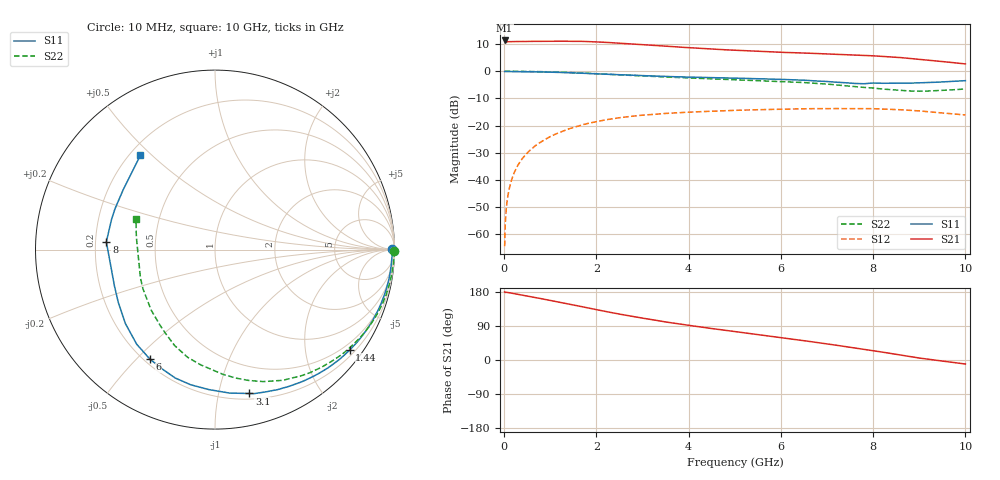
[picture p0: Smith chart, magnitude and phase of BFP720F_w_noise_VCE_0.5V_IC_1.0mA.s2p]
! Infineon Technologies  Discrete & RF Semiconductors
! BFP720F
! VCE =  0.5 V,  IC =  1.0 mA
! Common Emitter S-Parameters:  Jan 2016
# GHz  S  MA  R  50
!  f  S11  S21  S12  S22
! GHz  MAG  ANG  MAG  ANG  MAG  ANG  MAG  ANG
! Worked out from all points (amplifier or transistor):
!   233 points, 10 MHz to 10 GHz, reference 50 ohm
!   highest |S21| = 11.3 dB at 10 MHz (marker M1)
!   |S21| within 3 dB of that: start of sweep to 4.323 GHz
!   unconditionally stable (mu >= 1): nowhere
!   at 200 MHz: K = 0.00, MSG = 24.5 dB, |S12| = -38.1 dB
!   at 1.74 GHz: K = 0.14, MSG = 15.3 dB, |S12| = -19.5 dB
!   at 10 GHz: K = 0.80, MSG = 9.4 dB, |S12| = -16.1 dB
!   lowest NFmin = 0.46 dB at 450 MHz
!   S11 on the Smith chart (normalised r, x): 10 MHz: open; 1.44 GHz: 0.33, -2.98; 3.1 GHz: 0.25, -1.24; 6 GHz: 0.22, -0.55; 8 GHz: 0.24, +0.03; 10 GHz: 0.24, +0.46
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0.01  0.9868 0.1  3.687 179.8  0.0006 -8.5  0.9989 -0.5
0.015  0.9874 -0.2  3.585 179.1  0.0007 67.1  0.9994 -0.8
0.02  0.9881 -0.4  3.484 178.3  0.0013 93.7  1 -1.1
0.04  0.988 -1.0  3.489 178.6  0.0026 90.5  0.9987 -1.2
0.08  0.9874 -2.0  3.496 178.1  0.005 89.0  0.9986 -1.7
0.18  0.9862 -4.4  3.512 175.9  0.0112 86.8  0.9977 -3.8
0.3  0.9847 -7.3  3.52 173.3  0.0187 84.5  0.9943 -6.3
0.9  0.9662 -22.5  3.579 159.6  0.0561 72.2  0.978 -19.1
1.44  0.9362 -36.7  3.552 146.6  0.0887 60.3  0.9453 -31.2
1.68  0.9193 -43.2  3.549 140.6  0.1021 55.0  0.9269 -36.6
2.4  0.8672 -61.3  3.325 123.4  0.1357 39.4  0.8678 -52.0
3.1  0.8241 -76.6  3.046 108.6  0.1572 26.1  0.8122 -63.9
3.4  0.8071 -82.4  2.933 102.5  0.1643 20.9  0.7896 -68.4
4  0.7805 -92.6  2.717 91.4  0.1764 11.5  0.7532 -75.5
5.1  0.7438 -108.5  2.412 73.5  0.1912 -4.0  0.6921 -87.1
6  0.7099 -120.7  2.233 59.2  0.2 -16.0  0.6474 -97.0
6.8  0.6591 -136.0  2.114 45.9  0.2047 -27.3  0.594 -109.3
7.4  0.6139 -151.4  2.014 35.4  0.2051 -36.0  0.5397 -121.2
8  0.6069 175.9  1.922 24.6  0.2043 -45.3  0.4904 -136.4
8.4  0.6005 163.7  1.833 16.8  0.1988 -52.2  0.4575 -151.1
9  0.6108 146.8  1.663 5.2  0.1857 -62.3  0.4289 -175.6
10  0.6702 128.3  1.363 -10.6  0.1562 -75.4  0.4716 159.0
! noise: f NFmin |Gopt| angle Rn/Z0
0.45  0.46  0.82  5  0.47
0.9  0.6  0.8  13  0.49
1.8  0.65  0.78  26  0.36
2.4  0.69  0.8  31  0.37
5.5  1.15  0.59  94  0.23
10  1.7  0.42  -145  0.16
